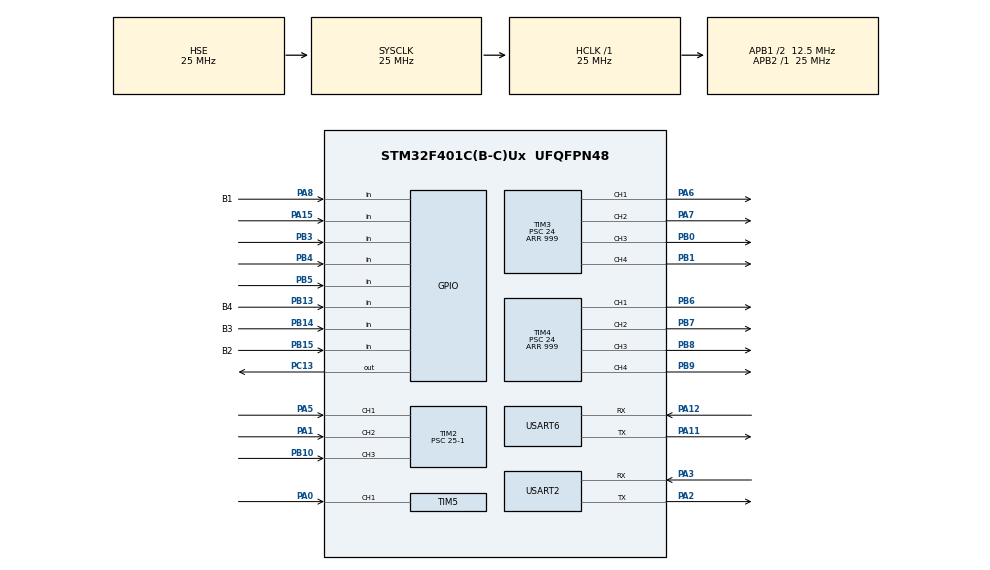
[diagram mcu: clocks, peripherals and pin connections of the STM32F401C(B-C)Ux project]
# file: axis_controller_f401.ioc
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Mcu.Family=STM32F4
Mcu.Name=STM32F401C(B-C)Ux
Mcu.Package=UFQFPN48
NVIC.PriorityGroup=NVIC_PRIORITYGROUP_4
NVIC.TIM2_IRQn=true\:0\:0\:false\:false\:true\:true\:true\:true
NVIC.TIM5_IRQn=true\:0\:0\:false\:false\:true\:true\:true\:true
NVIC.USART2_IRQn=true\:0\:0\:false\:false\:true\:true\:true\:true
PA0-WKUP.Signal=S_TIM5_CH1
PA1.Signal=S_TIM2_CH2
PA11.Mode=Asynchronous
PA11.Signal=USART6_TX
PA12.Mode=Asynchronous
PA12.Signal=USART6_RX
PA13.Mode=Serial_Wire
PA13.Signal=SYS_JTMS-SWDIO
PA14.Mode=Serial_Wire
PA14.Signal=SYS_JTCK-SWCLK
PA15.Signal=GPIO_Input
PA2.Mode=Asynchronous
PA2.Signal=USART2_TX
PA3.Mode=Asynchronous
PA3.Signal=USART2_RX
PA5.Signal=S_TIM2_CH1_ETR
PA6.Signal=S_TIM3_CH1
PA7.Signal=S_TIM3_CH2
PA8.GPIO_Label=B1
PA8.Signal=GPIO_Input
PB0.Signal=S_TIM3_CH3
PB1.Signal=S_TIM3_CH4
PB10.Signal=S_TIM2_CH3
PB13.GPIO_Label=B4
PB13.Signal=GPIO_Input
PB14.GPIO_Label=B3
PB14.Signal=GPIO_Input
PB15.GPIO_Label=B2
PB15.Signal=GPIO_Input
PB3.Signal=GPIO_Input
PB4.Signal=GPIO_Input
PB5.Signal=GPIO_Input
PB6.Signal=S_TIM4_CH1
PB7.Signal=S_TIM4_CH2
PB8.Signal=S_TIM4_CH3
PB9.Signal=S_TIM4_CH4
PC13-ANTI_TAMP.Signal=GPIO_Output
PH0\ -\ OSC_IN.Mode=HSE-External-Oscillator
PH0\ -\ OSC_IN.Signal=RCC_OSC_IN
PH1\ -\ OSC_OUT.Mode=HSE-External-Oscillator
PH1\ -\ OSC_OUT.Signal=RCC_OSC_OUT
ProjectManager.HeapSize=0x200
ProjectManager.StackSize=0x400
ProjectManager.TargetToolchain=STM32CubeIDE
RCC.48MHZClocksFreq_Value=25000000
RCC.AHBFreq_Value=25000000
RCC.APB1CLKDivider=RCC_HCLK_DIV2
RCC.APB1Freq_Value=12500000
RCC.APB1TimFreq_Value=25000000
RCC.APB2Freq_Value=25000000
RCC.APB2TimFreq_Value=25000000
RCC.CortexFreq_Value=25000000
RCC.HCLKFreq_Value=25000000
RCC.HSE_VALUE=25000000
RCC.HSI_VALUE=16000000
RCC.LSE_VALUE=32768
RCC.PLLM=20
RCC.PLLN=80
RCC.PLLSourceVirtual=RCC_PLLSOURCE_HSE
RCC.SYSCLKFreq_VALUE=25000000
RCC.SYSCLKSource=RCC_SYSCLKSOURCE_HSE
RCC.VCOOutputFreq_Value=100000000
SH.S_TIM2_CH1_ETR.0=TIM2_CH1,Input_Capture1_from_TI1
SH.S_TIM2_CH2.0=TIM2_CH2,Input_Capture2_from_TI2
SH.S_TIM2_CH3.0=TIM2_CH3,Input_Capture3_from_TI3
SH.S_TIM3_CH1.0=TIM3_CH1,PWM Generation1 CH1
SH.S_TIM3_CH2.0=TIM3_CH2,PWM Generation2 CH2
SH.S_TIM3_CH3.0=TIM3_CH3,PWM Generation3 CH3
SH.S_TIM3_CH4.0=TIM3_CH4,PWM Generation4 CH4
SH.S_TIM4_CH1.0=TIM4_CH1,PWM Generation1 CH1
SH.S_TIM4_CH2.0=TIM4_CH2,PWM Generation2 CH2
SH.S_TIM4_CH3.0=TIM4_CH3,PWM Generation3 CH3
SH.S_TIM4_CH4.0=TIM4_CH4,PWM Generation4 CH4
SH.S_TIM5_CH1.0=TIM5_CH1,Input_Capture1_from_TI1
TIM2.Channel-Input_Capture1_from_TI1=TIM_CHANNEL_1
TIM2.Channel-Input_Capture2_from_TI2=TIM_CHANNEL_2
TIM2.Channel-Input_Capture3_from_TI3=TIM_CHANNEL_3
TIM2.Prescaler=25-1
TIM3.Channel-PWM\ Generation1\ CH1=TIM_CHANNEL_1
TIM3.Channel-PWM\ Generation2\ CH2=TIM_CHANNEL_2
TIM3.Channel-PWM\ Generation3\ CH3=TIM_CHANNEL_3
TIM3.Channel-PWM\ Generation4\ CH4=TIM_CHANNEL_4
TIM3.Period=999
TIM3.Prescaler=24
TIM4.Channel-PWM\ Generation1\ CH1=TIM_CHANNEL_1
TIM4.Channel-PWM\ Generation2\ CH2=TIM_CHANNEL_2
TIM4.Channel-PWM\ Generation3\ CH3=TIM_CHANNEL_3
TIM4.Channel-PWM\ Generation4\ CH4=TIM_CHANNEL_4
TIM4.Period=999
TIM4.Prescaler=24
TIM5.Channel-Input_Capture1_from_TI1=TIM_CHANNEL_1
USART2.VirtualMode=VM_ASYNC
USART6.VirtualMode=VM_ASYNC
VP_TIM3_VS_ClockSourceINT.Mode=Internal
VP_TIM4_VS_ClockSourceINT.Mode=Internal
board=custom

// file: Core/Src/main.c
/* USER CODE BEGIN Header */
/**
 ******************************************************************************
 * @file           : main.c
 * @brief          : Main program body
 ******************************************************************************
 * @attention
 *
 * Copyright (c) 2023 STMicroelectronics.
 * All rights reserved.
 *
 * This software is licensed under terms that can be found in the LICENSE file
 * in the root directory of this software component.
 * If no LICENSE file comes with this software, it is provided AS-IS.
 *
 ******************************************************************************
 */
/* USER CODE END Header */
#include "main.h"

/* USER CODE BEGIN Includes */
#include "DATN_Comm.h"
#include "Swerve_Kinematics.h"
#include "axis_driver.h"
#include "main_process.h"
/* USER CODE END Includes */

TIM_HandleTypeDef htim2;
TIM_HandleTypeDef htim3;
TIM_HandleTypeDef htim4;
TIM_HandleTypeDef htim5;

UART_HandleTypeDef huart2;
UART_HandleTypeDef huart6;

/* USER CODE BEGIN PV */

volatile uint32_t cnt1 = HOME_OFFSET, cnt2 = HOME_OFFSET, cnt3 = HOME_OFFSET, cnt4 = HOME_OFFSET;
uint32_t DT = 0;
uint32_t previousTime;
uint32_t curTime = 0;
;
M_axis_t axis1 = {0, 90};
M_axis_t axis2 = {0, 90};
M_axis_t axis3 = {0, 90};
M_axis_t axis4 = {0, 90};

uint8_t TEST;

/* USER CODE END PV */

void SystemClock_Config(void);
static void MX_GPIO_Init(void);
static void MX_USART2_UART_Init(void);
static void MX_USART6_UART_Init(void);
static void MX_TIM3_Init(void);
static void MX_TIM4_Init(void);
static void MX_TIM5_Init(void);
static void MX_TIM2_Init(void);

/* USER CODE BEGIN 0 */

void HAL_TIM_IC_CaptureCallback(TIM_HandleTypeDef *htim)
{
  /*Axis 1: channel 1, pin A8*/
  if (htim->Instance == htim2.Instance)
  {
    /*Axis 1: channel 1, pin A8*/
    axis1.dir = HAL_GPIO_ReadPin(GPIOA, GPIO_PIN_8);
    if (htim->Channel == HAL_TIM_ACTIVE_CHANNEL_1)
    {
      if (!axis1.dir)
        cnt1++;
      else
      {
        /*Avoiding floating value*/
        cnt1 = (cnt1 > MIN_AXIS_VAL) ? (cnt1 - 1) : 0;
      }
    }
    axis2.dir = HAL_GPIO_ReadPin(GPIOB, GPIO_PIN_15);
    if (htim->Channel == HAL_TIM_ACTIVE_CHANNEL_2)
    {
      if (!axis2.dir)
        cnt2++;
      else
      {
        cnt2 = (cnt2 > MIN_AXIS_VAL) ? (cnt2 - 1) : 0;
      }
    }
    axis3.dir = HAL_GPIO_ReadPin(GPIOB, GPIO_PIN_14);
    if (htim->Channel == HAL_TIM_ACTIVE_CHANNEL_3)
    {
      if (!axis3.dir)
        cnt3++;
      else
      {
        cnt3 = (cnt3 > MIN_AXIS_VAL) ? (cnt3 - 1) : 0;
      }
    }
  }
  if (htim->Instance == htim5.Instance)
  {
    axis4.dir = HAL_GPIO_ReadPin(GPIOB, GPIO_PIN_13);
    if (htim->Channel == HAL_TIM_ACTIVE_CHANNEL_1)
    {
      if (!axis4.dir)
        cnt4++;
      else
      {
        cnt4 = (cnt4 > MIN_AXIS_VAL) ? (cnt4 - 1) : 0;
      }
    }
  }
}

/* USER CODE END 0 */

int main(void)
{
  /* USER CODE BEGIN 1 */
  int i = 0;
  /* USER CODE END 1 */

  /* MCU Configuration--------------------------------------------------------*/

  /* Reset of all peripherals, Initializes the Flash interface and the Systick. */
  HAL_Init();

  /* Configure the system clock */
  SystemClock_Config();

  /* Initialize all configured peripherals */
  MX_GPIO_Init();
  MX_USART2_UART_Init();
  MX_USART6_UART_Init();
  MX_TIM3_Init();
  MX_TIM4_Init();
  MX_TIM5_Init();
  MX_TIM2_Init();
  /* USER CODE BEGIN 2 */
  /*TIM2: encoder*/
  /*TIM3,4: pwm*/
  /*For encoder handler*/
  HAL_TIM_IC_Start_IT(&htim2, TIM_CHANNEL_1);
  HAL_TIM_IC_Start_IT(&htim2, TIM_CHANNEL_2);
  HAL_TIM_IC_Start_IT(&htim2, TIM_CHANNEL_3);
  HAL_TIM_IC_Start_IT(&htim5, TIM_CHANNEL_1);
  /*Start pwm*/
  HAL_TIM_PWM_Start(&htim3, TIM_CHANNEL_1);
  HAL_TIM_PWM_Start(&htim3, TIM_CHANNEL_2);
  HAL_TIM_PWM_Start(&htim3, TIM_CHANNEL_3);
  HAL_TIM_PWM_Start(&htim3, TIM_CHANNEL_4);

  HAL_TIM_PWM_Start(&htim4, TIM_CHANNEL_1);
  HAL_TIM_PWM_Start(&htim4, TIM_CHANNEL_2);
  HAL_TIM_PWM_Start(&htim4, TIM_CHANNEL_3);
  HAL_TIM_PWM_Start(&htim4, TIM_CHANNEL_4);
  Init_UART_Recv();
  SystemCoreClockUpdate();
  SysTick_Config(50000000 - 1);
  /* USER CODE END 2 */

  /* Infinite loop */
  /* USER CODE BEGIN WHILE */
  auto_home();
  /*Blynk led to notice*/
  for (i = 0; i < 10; i++)
  {
    HAL_GPIO_WritePin(GPIOC, GPIO_PIN_13, RESET);
    HAL_Delay(150);
    HAL_GPIO_WritePin(GPIOC, GPIO_PIN_13, SET);
    HAL_Delay(150);
  }
  while (1)
  {
    main_process();

    /* USER CODE END WHILE */

  }
}

void SystemClock_Config(void)
{
  RCC_OscInitTypeDef RCC_OscInitStruct = {0};
  RCC_ClkInitTypeDef RCC_ClkInitStruct = {0};

  /** Configure the main internal regulator output voltage
  */
  __HAL_RCC_PWR_CLK_ENABLE();
  __HAL_PWR_VOLTAGESCALING_CONFIG(PWR_REGULATOR_VOLTAGE_SCALE2);

  /** Initializes the RCC Oscillators according to the specified parameters
  * in the RCC_OscInitTypeDef structure.
  */
  RCC_OscInitStruct.OscillatorType = RCC_OSCILLATORTYPE_HSE;
  RCC_OscInitStruct.HSEState = RCC_HSE_ON;
  RCC_OscInitStruct.PLL.PLLState = RCC_PLL_NONE;
  if (HAL_RCC_OscConfig(&RCC_OscInitStruct) != HAL_OK)
  {
    Error_Handler();
  }

  /** Initializes the CPU, AHB and APB buses clocks
  */
  RCC_ClkInitStruct.ClockType = RCC_CLOCKTYPE_HCLK|RCC_CLOCKTYPE_SYSCLK
                              |RCC_CLOCKTYPE_PCLK1|RCC_CLOCKTYPE_PCLK2;
  RCC_ClkInitStruct.SYSCLKSource = RCC_SYSCLKSOURCE_HSE;
  RCC_ClkInitStruct.AHBCLKDivider = RCC_SYSCLK_DIV1;
  RCC_ClkInitStruct.APB1CLKDivider = RCC_HCLK_DIV2;
  RCC_ClkInitStruct.APB2CLKDivider = RCC_HCLK_DIV1;

  if (HAL_RCC_ClockConfig(&RCC_ClkInitStruct, FLASH_LATENCY_0) != HAL_OK)
  {
    Error_Handler();
  }
}

static void MX_TIM2_Init(void)
{

  TIM_MasterConfigTypeDef sMasterConfig = {0};
  TIM_IC_InitTypeDef sConfigIC = {0};

  htim2.Instance = TIM2;
  htim2.Init.Prescaler = 25-1;
  htim2.Init.CounterMode = TIM_COUNTERMODE_UP;
  htim2.Init.Period = 4294967295;
  htim2.Init.ClockDivision = TIM_CLOCKDIVISION_DIV1;
  htim2.Init.AutoReloadPreload = TIM_AUTORELOAD_PRELOAD_DISABLE;
  if (HAL_TIM_IC_Init(&htim2) != HAL_OK)
  {
    Error_Handler();
  }
  sMasterConfig.MasterOutputTrigger = TIM_TRGO_RESET;
  sMasterConfig.MasterSlaveMode = TIM_MASTERSLAVEMODE_DISABLE;
  if (HAL_TIMEx_MasterConfigSynchronization(&htim2, &sMasterConfig) != HAL_OK)
  {
    Error_Handler();
  }
  sConfigIC.ICPolarity = TIM_INPUTCHANNELPOLARITY_RISING;
  sConfigIC.ICSelection = TIM_ICSELECTION_DIRECTTI;
  sConfigIC.ICPrescaler = TIM_ICPSC_DIV1;
  sConfigIC.ICFilter = 0;
  if (HAL_TIM_IC_ConfigChannel(&htim2, &sConfigIC, TIM_CHANNEL_1) != HAL_OK)
  {
    Error_Handler();
  }
  if (HAL_TIM_IC_ConfigChannel(&htim2, &sConfigIC, TIM_CHANNEL_2) != HAL_OK)
  {
    Error_Handler();
  }
  if (HAL_TIM_IC_ConfigChannel(&htim2, &sConfigIC, TIM_CHANNEL_3) != HAL_OK)
  {
    Error_Handler();
  }

}

static void MX_TIM3_Init(void)
{

  TIM_ClockConfigTypeDef sClockSourceConfig = {0};
  TIM_MasterConfigTypeDef sMasterConfig = {0};
  TIM_OC_InitTypeDef sConfigOC = {0};

  htim3.Instance = TIM3;
  htim3.Init.Prescaler = 24;
  htim3.Init.CounterMode = TIM_COUNTERMODE_UP;
  htim3.Init.Period = 999;
  htim3.Init.ClockDivision = TIM_CLOCKDIVISION_DIV1;
  htim3.Init.AutoReloadPreload = TIM_AUTORELOAD_PRELOAD_DISABLE;
  if (HAL_TIM_Base_Init(&htim3) != HAL_OK)
  {
    Error_Handler();
  }
  sClockSourceConfig.ClockSource = TIM_CLOCKSOURCE_INTERNAL;
  if (HAL_TIM_ConfigClockSource(&htim3, &sClockSourceConfig) != HAL_OK)
  {
    Error_Handler();
  }
  if (HAL_TIM_PWM_Init(&htim3) != HAL_OK)
  {
    Error_Handler();
  }
  sMasterConfig.MasterOutputTrigger = TIM_TRGO_RESET;
  sMasterConfig.MasterSlaveMode = TIM_MASTERSLAVEMODE_DISABLE;
  if (HAL_TIMEx_MasterConfigSynchronization(&htim3, &sMasterConfig) != HAL_OK)
  {
    Error_Handler();
  }
  sConfigOC.OCMode = TIM_OCMODE_PWM1;
  sConfigOC.Pulse = 0;
  sConfigOC.OCPolarity = TIM_OCPOLARITY_HIGH;
  sConfigOC.OCFastMode = TIM_OCFAST_DISABLE;
  if (HAL_TIM_PWM_ConfigChannel(&htim3, &sConfigOC, TIM_CHANNEL_1) != HAL_OK)
  {
    Error_Handler();
  }
  if (HAL_TIM_PWM_ConfigChannel(&htim3, &sConfigOC, TIM_CHANNEL_2) != HAL_OK)
  {
    Error_Handler();
  }
  if (HAL_TIM_PWM_ConfigChannel(&htim3, &sConfigOC, TIM_CHANNEL_3) != HAL_OK)
  {
    Error_Handler();
  }
  if (HAL_TIM_PWM_ConfigChannel(&htim3, &sConfigOC, TIM_CHANNEL_4) != HAL_OK)
  {
    Error_Handler();
  }
  HAL_TIM_MspPostInit(&htim3);

}

static void MX_TIM4_Init(void)
{

  TIM_ClockConfigTypeDef sClockSourceConfig = {0};
  TIM_MasterConfigTypeDef sMasterConfig = {0};
  TIM_OC_InitTypeDef sConfigOC = {0};

  htim4.Instance = TIM4;
  htim4.Init.Prescaler = 24;
  htim4.Init.CounterMode = TIM_COUNTERMODE_UP;
  htim4.Init.Period = 999;
  htim4.Init.ClockDivision = TIM_CLOCKDIVISION_DIV1;
  htim4.Init.AutoReloadPreload = TIM_AUTORELOAD_PRELOAD_DISABLE;
  if (HAL_TIM_Base_Init(&htim4) != HAL_OK)
  {
    Error_Handler();
  }
  sClockSourceConfig.ClockSource = TIM_CLOCKSOURCE_INTERNAL;
  if (HAL_TIM_ConfigClockSource(&htim4, &sClockSourceConfig) != HAL_OK)
  {
    Error_Handler();
  }
  if (HAL_TIM_PWM_Init(&htim4) != HAL_OK)
  {
    Error_Handler();
  }
  sMasterConfig.MasterOutputTrigger = TIM_TRGO_RESET;
  sMasterConfig.MasterSlaveMode = TIM_MASTERSLAVEMODE_DISABLE;
  if (HAL_TIMEx_MasterConfigSynchronization(&htim4, &sMasterConfig) != HAL_OK)
  {
    Error_Handler();
  }
  sConfigOC.OCMode = TIM_OCMODE_PWM1;
  sConfigOC.Pulse = 0;
  sConfigOC.OCPolarity = TIM_OCPOLARITY_HIGH;
  sConfigOC.OCFastMode = TIM_OCFAST_DISABLE;
  if (HAL_TIM_PWM_ConfigChannel(&htim4, &sConfigOC, TIM_CHANNEL_1) != HAL_OK)
  {
    Error_Handler();
  }
  if (HAL_TIM_PWM_ConfigChannel(&htim4, &sConfigOC, TIM_CHANNEL_2) != HAL_OK)
  {
    Error_Handler();
  }
  if (HAL_TIM_PWM_ConfigChannel(&htim4, &sConfigOC, TIM_CHANNEL_3) != HAL_OK)
  {
    Error_Handler();
  }
  if (HAL_TIM_PWM_ConfigChannel(&htim4, &sConfigOC, TIM_CHANNEL_4) != HAL_OK)
  {
    Error_Handler();
  }
  HAL_TIM_MspPostInit(&htim4);

}

static void MX_TIM5_Init(void)
{

  TIM_MasterConfigTypeDef sMasterConfig = {0};
  TIM_IC_InitTypeDef sConfigIC = {0};

  htim5.Instance = TIM5;
  htim5.Init.Prescaler = 0;
  htim5.Init.CounterMode = TIM_COUNTERMODE_UP;
  htim5.Init.Period = 4294967295;
  htim5.Init.ClockDivision = TIM_CLOCKDIVISION_DIV1;
  htim5.Init.AutoReloadPreload = TIM_AUTORELOAD_PRELOAD_DISABLE;
  if (HAL_TIM_IC_Init(&htim5) != HAL_OK)
  {
    Error_Handler();
  }
  sMasterConfig.MasterOutputTrigger = TIM_TRGO_RESET;
  sMasterConfig.MasterSlaveMode = TIM_MASTERSLAVEMODE_DISABLE;
  if (HAL_TIMEx_MasterConfigSynchronization(&htim5, &sMasterConfig) != HAL_OK)
  {
    Error_Handler();
  }
  sConfigIC.ICPolarity = TIM_INPUTCHANNELPOLARITY_RISING;
  sConfigIC.ICSelection = TIM_ICSELECTION_DIRECTTI;
  sConfigIC.ICPrescaler = TIM_ICPSC_DIV1;
  sConfigIC.ICFilter = 0;
  if (HAL_TIM_IC_ConfigChannel(&htim5, &sConfigIC, TIM_CHANNEL_1) != HAL_OK)
  {
    Error_Handler();
  }

}

static void MX_USART2_UART_Init(void)
{

  huart2.Instance = USART2;
  huart2.Init.BaudRate = 115200;
  huart2.Init.WordLength = UART_WORDLENGTH_8B;
  huart2.Init.StopBits = UART_STOPBITS_1;
  huart2.Init.Parity = UART_PARITY_NONE;
  huart2.Init.Mode = UART_MODE_TX_RX;
  huart2.Init.HwFlowCtl = UART_HWCONTROL_NONE;
  huart2.Init.OverSampling = UART_OVERSAMPLING_16;
  if (HAL_UART_Init(&huart2) != HAL_OK)
  {
    Error_Handler();
  }

}

static void MX_USART6_UART_Init(void)
{

  huart6.Instance = USART6;
  huart6.Init.BaudRate = 115200;
  huart6.Init.WordLength = UART_WORDLENGTH_8B;
  huart6.Init.StopBits = UART_STOPBITS_1;
  huart6.Init.Parity = UART_PARITY_NONE;
  huart6.Init.Mode = UART_MODE_TX_RX;
  huart6.Init.HwFlowCtl = UART_HWCONTROL_NONE;
  huart6.Init.OverSampling = UART_OVERSAMPLING_16;
  if (HAL_UART_Init(&huart6) != HAL_OK)
  {
    Error_Handler();
  }

}

static void MX_GPIO_Init(void)
{
  GPIO_InitTypeDef GPIO_InitStruct = {0};

  /* GPIO Ports Clock Enable */
  __HAL_RCC_GPIOC_CLK_ENABLE();
  __HAL_RCC_GPIOH_CLK_ENABLE();
  __HAL_RCC_GPIOA_CLK_ENABLE();
  __HAL_RCC_GPIOB_CLK_ENABLE();

  /*Configure GPIO pin Output Level */
  HAL_GPIO_WritePin(GPIOC, GPIO_PIN_13, GPIO_PIN_RESET);

  /*Configure GPIO pin : PC13 */
  GPIO_InitStruct.Pin = GPIO_PIN_13;
  GPIO_InitStruct.Mode = GPIO_MODE_OUTPUT_PP;
  GPIO_InitStruct.Pull = GPIO_NOPULL;
  GPIO_InitStruct.Speed = GPIO_SPEED_FREQ_LOW;
  HAL_GPIO_Init(GPIOC, &GPIO_InitStruct);

  /*Configure GPIO pins : B4_Pin B3_Pin B2_Pin PB3
                           PB4 PB5 */
  GPIO_InitStruct.Pin = B4_Pin|B3_Pin|B2_Pin|GPIO_PIN_3
                          |GPIO_PIN_4|GPIO_PIN_5;
  GPIO_InitStruct.Mode = GPIO_MODE_INPUT;
  GPIO_InitStruct.Pull = GPIO_NOPULL;
  HAL_GPIO_Init(GPIOB, &GPIO_InitStruct);

  /*Configure GPIO pins : B1_Pin PA15 */
  GPIO_InitStruct.Pin = B1_Pin|GPIO_PIN_15;
  GPIO_InitStruct.Mode = GPIO_MODE_INPUT;
  GPIO_InitStruct.Pull = GPIO_NOPULL;
  HAL_GPIO_Init(GPIOA, &GPIO_InitStruct);

}

void Error_Handler(void)
{
  __disable_irq();
  while (1)
  {
  }
}
